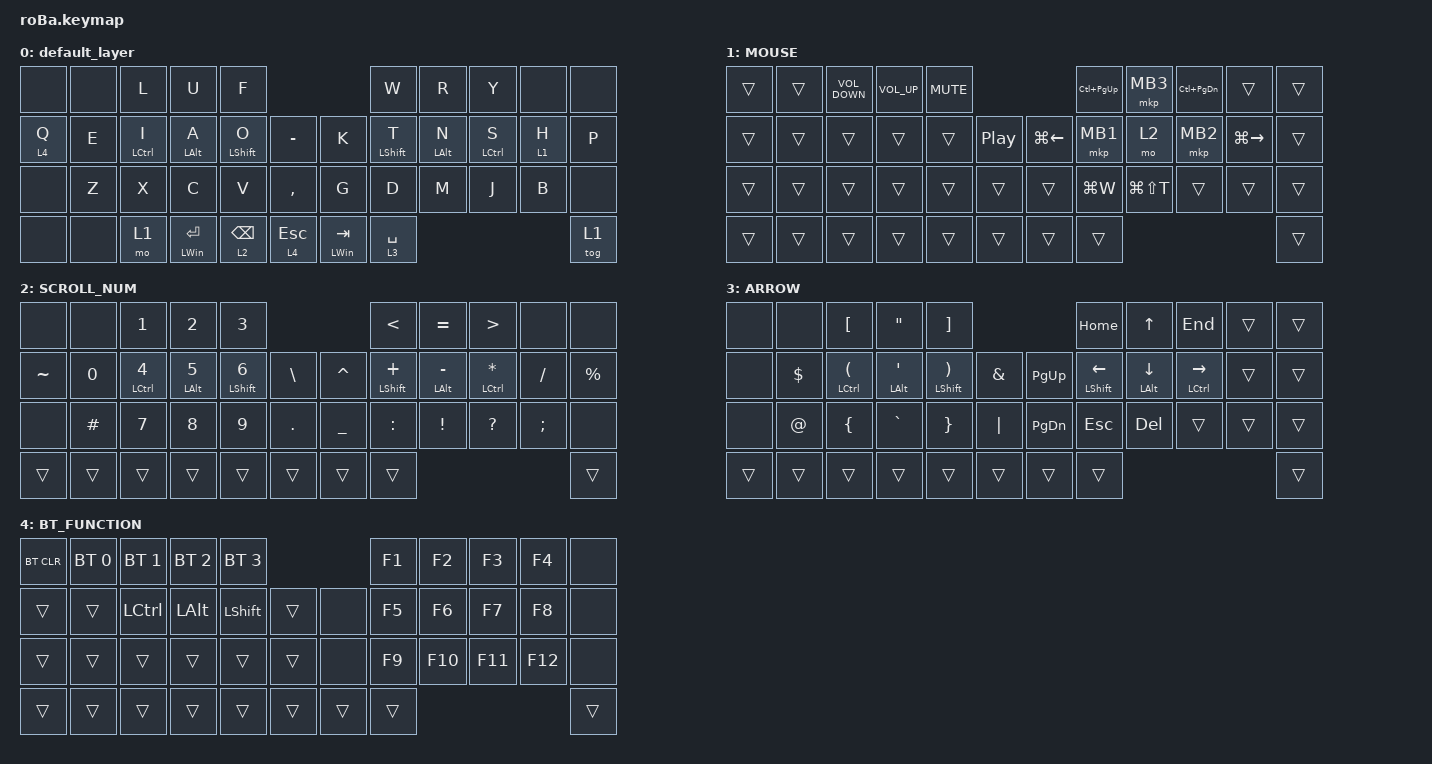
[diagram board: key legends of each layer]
#include <behaviors.dtsi>
#include <dt-bindings/zmk/bt.h>
#include <dt-bindings/zmk/keys.h>
#include <dt-bindings/zmk/pointing.h>

#define MOUSE 1
#define SCROLL 2
#define NUM 6

&mt {
    flavor = "balanced";
    quick-tap-ms = <200>;
};

&lt { quick-tap-ms = <200>; };

/ {
    combos {
        compatible = "zmk,combos";

        kana {
            bindings = <&kp LANG1>;
            key-positions = <30 31>;
        };

        eisuu {
            bindings = <&kp LANG2>;
            key-positions = <24 25>;
        };
    };

    macros {
        to_layer_0: to_layer_0 {
            compatible = "zmk,behavior-macro-one-param";
            #binding-cells = <1>;
            bindings = <&to 0 &macro_param_1to1 &kp MACRO_PLACEHOLDER>;
            label = "TO_LAYER_0";
        };
    };

    behaviors {
        lt_to_layer_0: lt_to_layer_0 {
            compatible = "zmk,behavior-hold-tap";
            label = "LAYER_TAP_TO_0";
            bindings = <&mo>, <&to_layer_0>;

            #binding-cells = <2>;
            tapping-term-ms = <200>;
        };
    };

    keymap {
        compatible = "zmk,keymap";

        default_layer {
            bindings = <
&none    &none  &kp L        &kp U               &kp F                                              &kp W             &kp R           &kp Y        &none    &none
&lt 4 Q  &kp E  &mt LCTRL I  &mt LEFT_ALT A      &mt LEFT_SHIFT O  &kp MINUS      &kp K             &mt LEFT_SHIFT T  &mt LEFT_ALT N  &mt LCTRL S  &lt 1 H  &kp P
&none    &kp Z  &kp X        &kp C               &kp V             &kp COMMA      &kp G             &kp D             &kp M           &kp J        &kp B    &none
&none    &none  &mo 1        &mt LEFT_WIN ENTER  &lt 2 BACKSPACE   &lt 4 ESC      &mt LEFT_WIN TAB  &lt 3 SPACE                                             &tog 1
            >;
        };

        MOUSE {
            bindings = <
&trans  &trans  &kp C_VOLUME_DOWN  &kp C_VOL_UP  &kp K_MUTE                                      &kp LC(PAGE_UP)  &mkp MB3       &kp LC(PAGE_DOWN)  &trans         &trans
&trans  &trans  &trans             &trans        &trans      &kp C_PLAY_PAUSE      &kp LG(LEFT)  &mkp MB1         &mo 2          &mkp MB2           &kp LG(RIGHT)  &trans
&trans  &trans  &trans             &trans        &trans      &trans                &trans        &kp LG(W)        &kp LG(LS(T))  &trans             &trans         &trans
&trans  &trans  &trans             &trans        &trans      &trans                &trans        &trans                                                            &trans
            >;
        };

        SCROLL_NUM {
            bindings = <
&none      &none      &kp N1        &kp N2           &kp N3                                                &kp LT               &kp EQUAL           &kp GT           &none     &none
&kp TILDE  &kp N0     &mt LCTRL N4  &mt LEFT_ALT N5  &mt LEFT_SHIFT N6  &kp BACKSLASH      &kp CARET       &mt LEFT_SHIFT PLUS  &mt LEFT_ALT MINUS  &mt LCTRL ASTRK  &kp FSLH  &kp PRCNT
&none      &kp POUND  &kp N7        &kp N8           &kp N9             &kp DOT            &kp UNDERSCORE  &kp COLON            &kp EXCL            &kp QUESTION     &kp SEMI  &none
&trans     &trans     &trans        &trans           &trans             &trans             &trans          &trans                                                              &trans
            >;
        };

        ARROW {
            bindings = <
&none   &none        &kp LBKT                    &kp DOUBLE_QUOTES          &kp RBKT                                                   &kp HOME             &kp UP             &kp END          &trans  &trans
&none   &kp DOLLAR   &mt LCTRL LEFT_PARENTHESIS  &mt LEFT_ALT SINGLE_QUOTE  &mt LEFT_SHIFT RIGHT_PARENTHESIS  &kp AMPS      &kp PG_UP  &mt LEFT_SHIFT LEFT  &mt LEFT_ALT DOWN  &mt LCTRL RIGHT  &trans  &trans
&none   &kp AT_SIGN  &kp LEFT_BRACE              &kp GRAVE                  &kp RIGHT_BRACE                   &kp PIPE      &kp PG_DN  &kp ESC              &kp DEL            &trans           &trans  &trans
&trans  &trans       &trans                      &trans                     &trans                            &trans        &trans     &trans                                                           &trans
            >;
        };

        BT_FUNCTION {
            bindings = <
&bt BT_CLR  &bt BT_SEL 0  &bt BT_SEL 1  &bt BT_SEL 2  &bt BT_SEL 3                        &kp F1  &kp F2   &kp F3   &kp F4   &none
&trans      &trans        &kp LCTRL     &kp LEFT_ALT  &kp LEFT_SHIFT  &trans      &none   &kp F5  &kp F6   &kp F7   &kp F8   &none
&trans      &trans        &trans        &trans        &trans          &trans      &none   &kp F9  &kp F10  &kp F11  &kp F12  &none
&trans      &trans        &trans        &trans        &trans          &trans      &trans  &trans                             &trans
            >;
        };
    };
};
